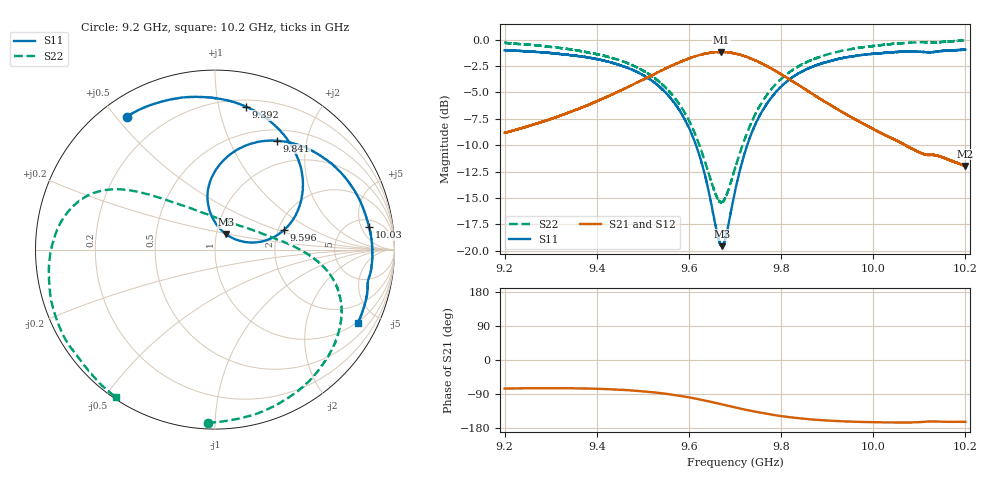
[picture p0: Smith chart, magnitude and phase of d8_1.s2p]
!Agilent Technologies,N5242A,MY51221714,A.09.90.19
!Agilent N5242A: A.09.90.19
!Date: Saturday, March 16, 2024 08:56:36
!Correction: S11(Full 2 Port(1,2))
!S21(Full 2 Port(1,2))
!S12(Full 2 Port(1,2))
!S22(Full 2 Port(1,2))
!S2P File: Measurements: S11, S21, S12, S22:
# Hz S  dB  R 50
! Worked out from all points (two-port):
!   16001 points, 9.2 GHz to 10.2 GHz, reference 50 ohm
!   highest |S21| = -1.17 dB at 9.671 GHz (marker M1); lowest = -12.0 dB at 10.2 GHz (marker M2)
!   |S21| within 3 dB of the highest: 9.482152 GHz to 9.482434 GHz (282.3 kHz wide, 0.00298 % of centre); 9.482 GHz to 9.833 GHz (350.7 MHz wide, 3.63 % of centre)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
!   lowest |S11| = -19.6 dB at 9.671 GHz (marker M3), VSWR 1.24, Z = 55.8 + j9.57 ohm
!   |S11| at or under -10 dB: 9.615 GHz to 9.727 GHz (111 MHz wide, 1.15 % of centre)
!   |S22| runs from -15.4 to -0.1 dB; largest |S21 - S12| = 0.0097
!   S11 on the Smith chart (normalised r, x): 9.2 GHz: 0.08, +0.53; 9.392 GHz: 0.26, +1.21; 9.596 GHz: 2.14, +0.55; 9.841 GHz: 0.64, +1.52; 10.03 GHz: 6.96, +6.98; 10.2 GHz: 0.95, -3.90
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9.2e9  -1.03 123.6  -8.83 -75.4  -8.83 -76.0  -0.30 -92.4
9.277688e9  -1.20 105.9  -7.84 -74.4  -7.83 -74.9  -0.59 -71.1
9.366688e9  -1.61 84.4  -6.45 -75.1  -6.44 -75.5  -1.11 -47.8
9.392188e9  -1.78 77.7  -5.98 -75.7  -5.97 -76.2  -1.32 -41.5
9.463812e9  -2.62 57.7  -4.57 -79.5  -4.56 -79.9  -2.18 -25.0
9.533375e9  -4.35 36.1  -3.08 -86.6  -3.07 -87.1  -3.90 -10.8
9.596438e9  -8.03 15.7  -1.84 -97.8  -1.84 -98.3  -7.36 3.0
9.62725e9  -11.66 9.7  -1.41 -105.1  -1.40 -105.6  -10.55 15.8
9.6705e9  -19.47 51.5  -1.17 -116.8  -1.16 -117.2  -15.39 71.2
9.6715e9  -19.55 53.7  -1.19 -117.0  -1.17 -117.5  -15.39 73.3
9.7e9  -14.38 95.9  -1.31 -124.9  -1.29 -125.5  -12.20 116.1
9.724875e9  -10.21 97.7  -1.63 -131.7  -1.62 -132.2  -8.98 131.8
9.753688e9  -7.19 89.9  -2.17 -138.7  -2.15 -139.2  -6.29 140.5
9.798312e9  -4.54 74.8  -3.23 -147.6  -3.24 -148.2  -3.79 148.7
9.840688e9  -3.12 60.5  -4.38 -153.9  -4.38 -154.4  -2.46 155.6
9.866688e9  -2.59 52.2  -5.12 -156.9  -5.10 -157.4  -1.93 160.0
9.950438e9  -1.61 28.2  -7.29 -162.6  -7.31 -163.1  -0.91 176.5
1.00315e10  -1.24 8.3  -9.17 -164.6  -9.15 -165.1  -0.45 -165.5
1.003338e10  -1.23 7.8  -9.19 -164.6  -9.19 -165.1  -0.44 -164.9
1.010725e10  -1.16 -9.1  -10.79 -163.5  -10.79 -164.1  -0.24 -147.6
1.019988e10  -0.97 -27.3  -11.96 -163.0  -11.95 -163.6  -0.08 -123.9
1.02e10  -0.97 -27.3  -11.95 -163.0  -11.95 -163.5  -0.08 -123.9
